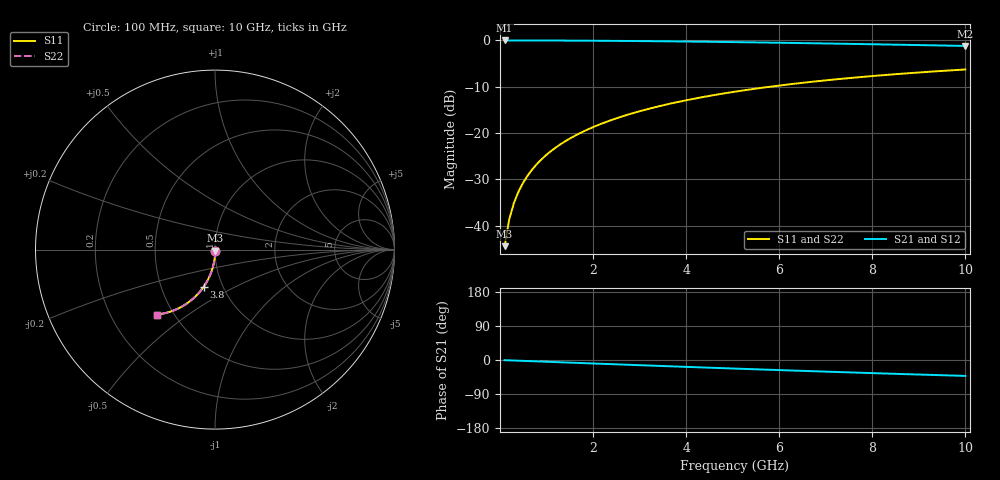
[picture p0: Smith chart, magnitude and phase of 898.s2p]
# Hz S RI R 50.00
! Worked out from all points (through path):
!   100 points, 100 MHz to 10 GHz, reference 50 ohm
!   highest |S21| = -0.01 dB at 100 MHz (marker M1); lowest = -1.2 dB at 10 GHz (marker M2)
!   group delay of S21, straight-line fit = 11.7 ps
!   lowest |S11| = -44.4 dB at 100 MHz (marker M3), VSWR 1.01, Z = 50.1 - j0.587 ohm
!   |S11| at or under -10 dB: start of sweep to 5.803 GHz
!   |S22| runs from -44.4 to -6.3 dB; largest |S21 - S12| = 0
!   S11 on the Smith chart (normalised r, x): 100 MHz: 1.00, -0.01; 3.8 GHz: 0.81, -0.35; 10 GHz: 0.41, -0.38
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1e8  0.0014 -0.00585  0.9985 -0.00803  0.9985 -0.00803  0.0014 -0.00585
2e8  0.00126 -0.0117  0.9983 -0.0161  0.9983 -0.0161  0.00126 -0.0117
3e8  0.00102 -0.0176  0.9981 -0.0241  0.9981 -0.0241  0.00102 -0.0176
4e8  0.000694 -0.0234  0.9977 -0.0321  0.9977 -0.0321  0.000694 -0.0234
5e8  0.00027 -0.0292  0.9973 -0.0401  0.9973 -0.0401  0.00027 -0.0292
6e8  -0.000248 -0.035  0.9967 -0.0481  0.9967 -0.0481  -0.000248 -0.035
7e8  -0.00086 -0.0409  0.996 -0.0561  0.996 -0.0561  -0.00086 -0.0409
8e8  -0.00156 -0.0467  0.9953 -0.0641  0.9953 -0.0641  -0.00156 -0.0467
9e8  -0.00236 -0.0524  0.9945 -0.072  0.9945 -0.072  -0.00236 -0.0524
1.1e9  -0.00423 -0.064  0.9925 -0.0879  0.9925 -0.0879  -0.00423 -0.064
1.4e9  -0.00772 -0.0811  0.9888 -0.1116  0.9888 -0.1116  -0.00772 -0.0811
1.8e9  -0.0136 -0.1035  0.9826 -0.1427  0.9826 -0.1427  -0.0136 -0.1035
2.1e9  -0.019 -0.12  0.9769 -0.1658  0.9769 -0.1658  -0.019 -0.12
2.5e9  -0.0272 -0.1415  0.9682 -0.196  0.9682 -0.196  -0.0272 -0.1415
2.9e9  -0.0368 -0.1622  0.9581 -0.2255  0.9581 -0.2255  -0.0368 -0.1622
3.4e9  -0.0504 -0.1871  0.9437 -0.2612  0.9437 -0.2612  -0.0504 -0.1871
3.8e9  -0.0625 -0.2059  0.9309 -0.2889  0.9309 -0.2889  -0.0625 -0.2059
4.4e9  -0.0826 -0.2325  0.9096 -0.3285  0.9096 -0.3285  -0.0826 -0.2325
5.1e9  -0.1084 -0.2605  0.8821 -0.3719  0.8821 -0.3719  -0.1084 -0.2605
6.7e9  -0.1748 -0.3117  0.811 -0.4586  0.811 -0.4586  -0.1748 -0.3117
8.4e9  -0.2512 -0.3465  0.7281 -0.5312  0.7281 -0.5312  -0.2512 -0.3465
1e10  -0.3236 -0.3618  0.648 -0.5827  0.648 -0.5827  -0.3236 -0.3618
